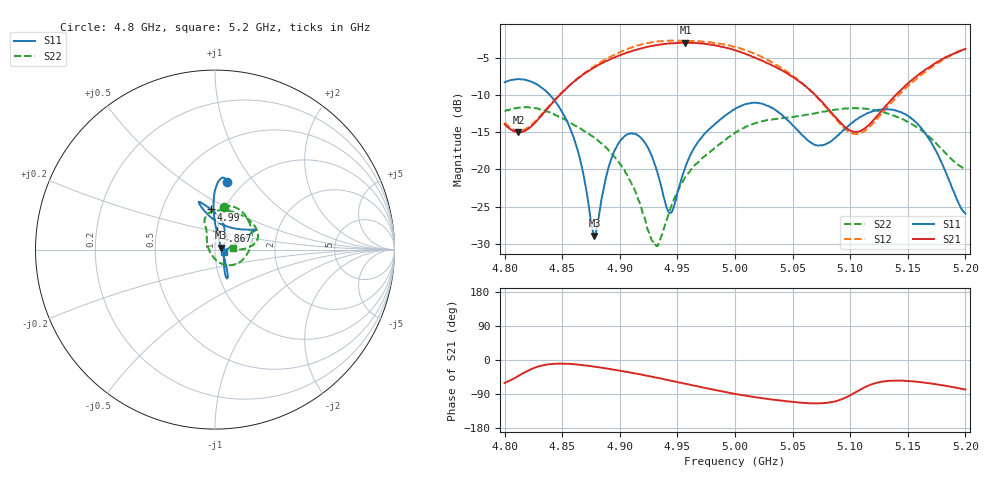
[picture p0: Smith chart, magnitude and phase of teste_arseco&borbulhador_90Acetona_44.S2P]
! Network Analyzer HP8722D
! Hewlett-Packard
! Data name: Linha & Wilkinson
! Saver's name: Rodrigo Anjos
! Comments: Teste da utilização de aquisição
! continua pelo VNA HP8722D
! Time and date: 17/4/2025 11:25
!  Frequency  S11  S21  S12  S22
# HZ  S  MA R 50
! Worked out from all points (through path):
!   401 points, 4.8 GHz to 5.2 GHz, reference 50 ohm
!   highest |S21| = -2.98 dB at 4.957 GHz (marker M1); lowest = -15.0 dB at 4.812 GHz (marker M2)
!   lowest |S11| = -28.9 dB at 4.878 GHz (marker M3), VSWR 1.07, Z = 53.6 + j1.08 ohm
!   |S11| at or under -10 dB: 4.839 GHz to end of sweep
!   |S22| runs from -30.3 to -11.6 dB; largest |S21 - S12| = 1.4
!   S11 on the Smith chart (normalised r, x): 4.8 GHz: 0.84, +0.75; 4.867 GHz: 1.00, +0.21; 4.99 GHz: 0.87, +0.41; 5.2 GHz: 1.10, -0.03
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4.8e9  0.3844 79.7  0.2015 -60.6  0.2061 74.5  0.2449 78.1
4.812e9  0.4042 83.3  0.1769 -42.0  0.1815 91.4  0.2595 67.7
4.845e9  0.2783 91.5  0.2999 -9.7  0.3017 123.0  0.2293 28.1
4.858e9  0.1795 91.1  0.375 -10.6  0.3765 124.0  0.2034 9.0
4.867e9  0.1036 84.6  0.4268 -13.3  0.4294 123.2  0.1853 -4.5
4.878e9  0.03588 16.3  0.4859 -17.6  0.4933 121.0  0.1624 -21.2
4.891e9  0.1078 -54.9  0.5444 -23.8  0.5667 116.8  0.1324 -39.6
4.904e9  0.1667 -65.0  0.5996 -30.2  0.63 111.4  0.09927 -58.0
4.92e9  0.1577 -68.1  0.6522 -39.5  0.6965 102.7  0.05063 -91.8
4.928e9  0.1219 -64.8  0.6741 -44.3  0.7133 97.8  0.03315 -130.4
4.934e9  0.08758 -55.7  0.6871 -48.0  0.7254 94.0  0.03212 -174.6
4.944e9  0.05082 0.4  0.7018 -54.4  0.7307 87.5  0.05499 141.5
4.957e9  0.1043 58.5  0.7099 -62.6  0.7301 79.3  0.08937 121.3
4.969e9  0.1566 73.8  0.7011 -70.4  0.7245 71.6  0.1138 114.7
4.99e9  0.2246 95.6  0.6632 -83.6  0.6925 57.8  0.1555 111.7
5e9  0.2546 102.8  0.6314 -89.6  0.6664 51.4  0.1766 109.4
5.031e9  0.2615 108.4  0.5056 -104.0  0.5298 34.7  0.2158 91.2
5.067e9  0.1497 80.6  0.3309 -114.4  0.3294 26.3  0.2361 59.1
5.104e9  0.2123 31.6  0.1791 -86.3  0.1727 57.9  0.2577 26.4
5.134e9  0.2527 25.9  0.2835 -54.9  0.271 91.1  0.2355 11.1
5.164e9  0.1799 21.4  0.4603 -59.6  0.4442 88.1  0.1775 2.6
5.2e9  0.05052 -16.8  0.6437 -78.0  0.6461 71.2  0.1002 4.7
